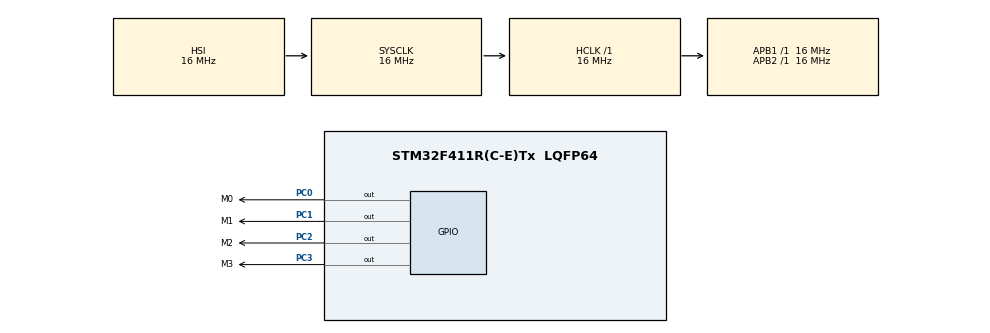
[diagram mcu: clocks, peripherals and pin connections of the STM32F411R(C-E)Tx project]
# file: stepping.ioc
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Mcu.Family=STM32F4
Mcu.Name=STM32F411R(C-E)Tx
Mcu.Package=LQFP64
NVIC.PriorityGroup=NVIC_PRIORITYGROUP_4
PC0.GPIO_Label=M0
PC0.Signal=GPIO_Output
PC1.GPIO_Label=M1
PC1.Signal=GPIO_Output
PC2.GPIO_Label=M2
PC2.Signal=GPIO_Output
PC3.GPIO_Label=M3
PC3.Signal=GPIO_Output
ProjectManager.HeapSize=0x200
ProjectManager.StackSize=0x400
ProjectManager.TargetToolchain=STM32CubeIDE
RCC.AHBFreq_Value=16000000
RCC.APB1Freq_Value=16000000
RCC.APB2Freq_Value=16000000
RCC.CortexFreq_Value=16000000
RCC.HSE_VALUE=25000000
RCC.HSI_VALUE=16000000
RCC.LSE_VALUE=32768
RCC.SYSCLKFreq_VALUE=16000000
RCC.VCOOutputFreq_Value=192000000
board=custom

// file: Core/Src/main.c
/* USER CODE BEGIN Header */
/**
  ******************************************************************************
  * @file           : main.c
  * @brief          : Main program body
  ******************************************************************************
  * @attention
  *
  * Copyright (c) 2023 STMicroelectronics.
  * All rights reserved.
  *
  * This software is licensed under terms that can be found in the LICENSE file
  * in the root directory of this software component.
  * If no LICENSE file comes with this software, it is provided AS-IS.
  *
  ******************************************************************************
  */
/* USER CODE END Header */
#include "main.h"

void SystemClock_Config(void);
static void MX_GPIO_Init(void);

/* USER CODE BEGIN 0 */

void setMotor(int dir,int angle)
{
	/*
	 * M0, M1 / M2, M3
	 * 1   0    0   0
	 * 1   0    1   0
	 * 0   0    1   0
	 * 0   1    1   0
	 * 0   1    0   0
	 * 0   1    0   1
	 * 0   0    0   1
	 * 1   0    0   1
	 * 1   0    0   0
	 * only one On = wave drive
	 * the couple of things On = half drive
	 * From Stepping motor
	 */
	uint8_t stepLut[]={0b1000, 0b1010, 0b0010, 0b0110, 0b0100, 0b0101, 0b0001, 0b1001};
	static int curStep=0;
	if(dir)
	{
		curStep++;
		curStep %= 8;
	}
	else
	{
		curStep--;
		if(curStep<0) curStep=7;

	}
	//GPIOA->ODR=(GPIOA->IDR & 0xff00) | stepLut[curstep];
	HAL_GPIO_WritePin(M0_GPIO_Port, M0_Pin, (stepLut[curStep] & (1<<0)) > 0 ? 1 : 0);
	HAL_GPIO_WritePin(M1_GPIO_Port, M0_Pin, (stepLut[curStep] & (1<<1)) > 0 ? 1 : 0);
	HAL_GPIO_WritePin(M2_GPIO_Port, M0_Pin, (stepLut[curStep] & (1<<2)) > 0 ? 1 : 0);
	HAL_GPIO_WritePin(M3_GPIO_Port, M0_Pin, (stepLut[curStep] & (1<<3)) > 0 ? 1 : 0);
}

/* USER CODE END 0 */

int main(void)
{

  /* MCU Configuration--------------------------------------------------------*/

  /* Reset of all peripherals, Initializes the Flash interface and the Systick. */
  HAL_Init();

  /* Configure the system clock */
  SystemClock_Config();

  /* Initialize all configured peripherals */
  MX_GPIO_Init();

  /* Infinite loop */
  while (1)
  {

    /* USER CODE BEGIN 3 */
  	for(int i=0;i<100;i++)
  	{
  	setMotor(1, 0);
  	HAL_Delay(10);
  	}
  	for(int i=0;i<100;i++)
  	{
  	setMotor(0, 0);
  	HAL_Delay(10);
  	}

  }
  /* USER CODE END 3 */
}

void SystemClock_Config(void)
{
  RCC_OscInitTypeDef RCC_OscInitStruct = {0};
  RCC_ClkInitTypeDef RCC_ClkInitStruct = {0};

  /** Configure the main internal regulator output voltage
  */
  __HAL_RCC_PWR_CLK_ENABLE();
  __HAL_PWR_VOLTAGESCALING_CONFIG(PWR_REGULATOR_VOLTAGE_SCALE1);

  /** Initializes the RCC Oscillators according to the specified parameters
  * in the RCC_OscInitTypeDef structure.
  */
  RCC_OscInitStruct.OscillatorType = RCC_OSCILLATORTYPE_HSI;
  RCC_OscInitStruct.HSIState = RCC_HSI_ON;
  RCC_OscInitStruct.HSICalibrationValue = RCC_HSICALIBRATION_DEFAULT;
  RCC_OscInitStruct.PLL.PLLState = RCC_PLL_NONE;
  if (HAL_RCC_OscConfig(&RCC_OscInitStruct) != HAL_OK)
  {
    Error_Handler();
  }

  /** Initializes the CPU, AHB and APB buses clocks
  */
  RCC_ClkInitStruct.ClockType = RCC_CLOCKTYPE_HCLK|RCC_CLOCKTYPE_SYSCLK
                              |RCC_CLOCKTYPE_PCLK1|RCC_CLOCKTYPE_PCLK2;
  RCC_ClkInitStruct.SYSCLKSource = RCC_SYSCLKSOURCE_HSI;
  RCC_ClkInitStruct.AHBCLKDivider = RCC_SYSCLK_DIV1;
  RCC_ClkInitStruct.APB1CLKDivider = RCC_HCLK_DIV1;
  RCC_ClkInitStruct.APB2CLKDivider = RCC_HCLK_DIV1;

  if (HAL_RCC_ClockConfig(&RCC_ClkInitStruct, FLASH_LATENCY_0) != HAL_OK)
  {
    Error_Handler();
  }
}

static void MX_GPIO_Init(void)
{
  GPIO_InitTypeDef GPIO_InitStruct = {0};

  /* GPIO Ports Clock Enable */
  __HAL_RCC_GPIOC_CLK_ENABLE();

  /*Configure GPIO pin Output Level */
  HAL_GPIO_WritePin(GPIOC, M0_Pin|M1_Pin|M2_Pin|M3_Pin, GPIO_PIN_RESET);

  /*Configure GPIO pins : M0_Pin M1_Pin M2_Pin M3_Pin */
  GPIO_InitStruct.Pin = M0_Pin|M1_Pin|M2_Pin|M3_Pin;
  GPIO_InitStruct.Mode = GPIO_MODE_OUTPUT_PP;
  GPIO_InitStruct.Pull = GPIO_NOPULL;
  GPIO_InitStruct.Speed = GPIO_SPEED_FREQ_LOW;
  HAL_GPIO_Init(GPIOC, &GPIO_InitStruct);

}

void Error_Handler(void)
{
  __disable_irq();
  while (1)
  {
  }
}
